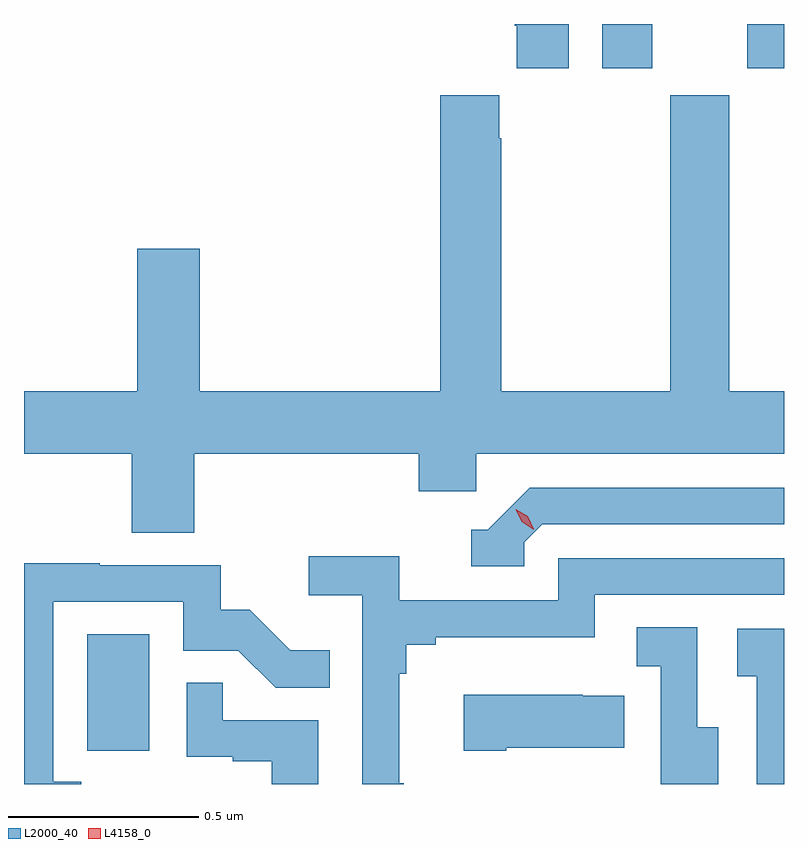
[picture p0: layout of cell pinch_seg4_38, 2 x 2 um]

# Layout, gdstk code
import gdstk
lib = gdstk.Library(unit=1e-6, precision=1e-09)
def R(c, l, rs):  # rectangles x0, y0, x1, y1
    for r in rs: c.add(gdstk.rectangle(r[:2], r[2:], *l))
def P(c, l, *ps):  # polygons
    for p in ps: c.add(gdstk.Polygon(p, *l))
L2000_40 = (2000, 40)
L4158_0 = (4158, 0)

pinch_seg4_38 = lib.new_cell('pinch_seg4_38')
R(pinch_seg4_38, L2000_40, [(1141.898,812.022,1142.062,812.329), (1143.254,813.819,1143.385,813.935), (1143.635,813.819,1143.732,813.935)])
P(pinch_seg4_38, L2000_40, [(1143.166,813.935),(1143.023,813.935),(1143.023,813.931),(1143.029,813.931),(1143.029,813.819),(1143.166,813.819)],
  [(1142.18,812.804),(1142.771,812.804),(1142.771,812.706),(1142.922,812.706),(1142.922,812.804),(1143.732,812.804),(1143.732,812.968),(1143.588,812.968),(1143.588,813.748),(1143.433,813.748),(1143.433,812.968),(1142.988,812.968),(1142.988,813.635),(1142.983,813.635),(1142.983,813.748),(1142.828,813.748),(1142.828,812.968),(1142.194,812.968),(1142.194,813.343),(1142.03,813.343),(1142.03,812.968),(1141.732,812.968),(1141.732,812.804),(1142.015,812.804),(1142.015,812.596),(1142.18,812.596)],
  [(1143.048,812.571),(1143.096,812.619),(1143.732,812.619),(1143.732,812.715),(1143.063,812.715),(1142.952,812.604),(1142.909,812.604),(1142.909,812.508),(1143.048,812.508)],
  [(1142.731,811.937),(1142.719,811.937),(1142.719,812.225),(1142.738,812.225),(1142.738,812.302),(1142.815,812.302),(1142.815,812.321),(1143.234,812.321),(1143.234,812.433),(1143.732,812.433),(1143.732,812.529),(1143.138,812.529),(1143.138,812.418),(1142.72,812.418),(1142.72,812.534),(1142.481,812.534),(1142.481,812.432),(1142.622,812.432),(1142.622,811.935),(1142.731,811.935)],
  [(1141.882,811.941),(1141.809,811.941),(1141.809,812.415),(1142.151,812.415),(1142.151,812.286),(1142.296,812.286),(1142.394,812.188),(1142.537,812.188),(1142.537,812.287),(1142.433,812.287),(1142.326,812.394),(1142.25,812.394),(1142.25,812.511),(1141.931,812.511),(1141.931,812.516),(1141.732,812.516),(1141.732,811.935),(1141.882,811.935)],
  [(1143.559,812.085),(1143.504,812.085),(1143.504,812.348),(1143.345,812.348),(1143.345,812.245),(1143.408,812.245),(1143.408,811.941),(1143.407,811.941),(1143.407,811.935),(1143.559,811.935)],
  [(1143.732,812.343),(1143.609,812.343),(1143.609,812.219),(1143.66,812.219),(1143.66,811.935),(1143.732,811.935)],
  [(1142.506,812.103),(1142.255,812.103),(1142.255,812.201),(1142.16,812.201),(1142.16,812.007),(1142.281,812.007),(1142.281,811.995),(1142.384,811.995),(1142.384,811.935),(1142.506,811.935)],
  [(1143.001,812.03),(1143.311,812.03),(1143.311,812.167),(1143.203,812.167),(1143.203,812.17),(1142.889,812.17),(1142.889,812.023),(1143.001,812.023)])
P(pinch_seg4_38, L4158_0, [(1143.072,812.606),(1143.042,812.625),(1143.026,812.658),(1143.026,812.658),(1143.026,812.658),(1143.057,812.639),(1143.073,812.606),(1143.073,812.606)])

lib.write_gds('pinch_seg4_38.gds')
